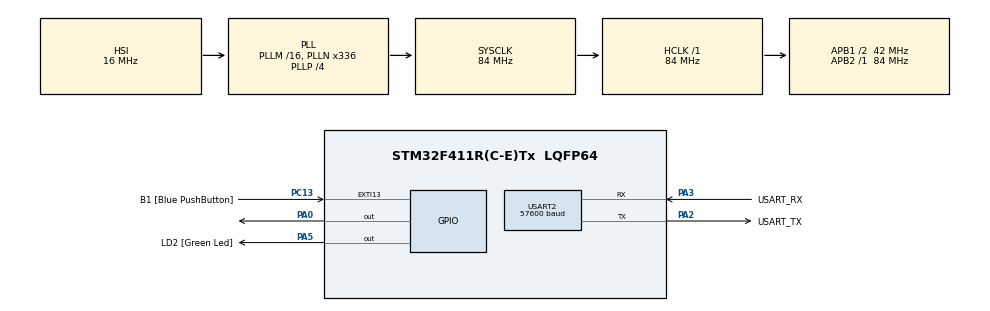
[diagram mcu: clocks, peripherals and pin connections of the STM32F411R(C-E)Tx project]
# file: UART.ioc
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Dma.Request0=USART2_RX
Dma.Request1=USART2_TX
Dma.USART2_RX.0.Direction=DMA_PERIPH_TO_MEMORY
Dma.USART2_RX.0.FIFOMode=DMA_FIFOMODE_DISABLE
Dma.USART2_RX.0.Instance=DMA1_Stream5
Dma.USART2_RX.0.MemDataAlignment=DMA_MDATAALIGN_BYTE
Dma.USART2_RX.0.MemInc=DMA_MINC_ENABLE
Dma.USART2_RX.0.Mode=DMA_CIRCULAR
Dma.USART2_RX.0.PeriphDataAlignment=DMA_PDATAALIGN_BYTE
Dma.USART2_RX.0.PeriphInc=DMA_PINC_DISABLE
Dma.USART2_RX.0.Priority=DMA_PRIORITY_LOW
Dma.USART2_TX.1.Direction=DMA_MEMORY_TO_PERIPH
Dma.USART2_TX.1.FIFOMode=DMA_FIFOMODE_DISABLE
Dma.USART2_TX.1.Instance=DMA1_Stream6
Dma.USART2_TX.1.MemDataAlignment=DMA_MDATAALIGN_BYTE
Dma.USART2_TX.1.MemInc=DMA_MINC_ENABLE
Dma.USART2_TX.1.Mode=DMA_NORMAL
Dma.USART2_TX.1.PeriphDataAlignment=DMA_PDATAALIGN_BYTE
Dma.USART2_TX.1.PeriphInc=DMA_PINC_DISABLE
Dma.USART2_TX.1.Priority=DMA_PRIORITY_LOW
Mcu.Family=STM32F4
Mcu.Name=STM32F411R(C-E)Tx
Mcu.Package=LQFP64
NVIC.DMA1_Stream5_IRQn=true\:0\:0\:false\:false\:true\:false\:true\:true
NVIC.DMA1_Stream6_IRQn=true\:0\:0\:false\:false\:true\:false\:true\:true
NVIC.EXTI15_10_IRQn=true\:0\:0\:false\:false\:true\:true\:true\:true
NVIC.PriorityGroup=NVIC_PRIORITYGROUP_0
NVIC.USART2_IRQn=true\:0\:0\:false\:false\:true\:true\:true\:true
PA0-WKUP.Signal=GPIO_Output
PA13.GPIO_Label=TMS
PA13.Mode=Serial_Wire
PA13.Signal=SYS_JTMS-SWDIO
PA14.GPIO_Label=TCK
PA14.Mode=Serial_Wire
PA14.Signal=SYS_JTCK-SWCLK
PA2.GPIO_Label=USART_TX
PA2.Mode=Asynchronous
PA2.Signal=USART2_TX
PA3.GPIO_Label=USART_RX
PA3.Mode=Asynchronous
PA3.Signal=USART2_RX
PA5.GPIO_Label=LD2 [Green Led]
PA5.Signal=GPIO_Output
PB3.GPIO_Label=SWO
PB3.Signal=SYS_JTDO-SWO
PC13-ANTI_TAMP.GPIO_Label=B1 [Blue PushButton]
PC13-ANTI_TAMP.GPIO_ModeDefaultEXTI=GPIO_MODE_IT_RISING_FALLING
PC13-ANTI_TAMP.Signal=GPXTI13
PC14-OSC32_IN.Mode=LSE-External-Oscillator
PC14-OSC32_IN.Signal=RCC_OSC32_IN
PC15-OSC32_OUT.Mode=LSE-External-Oscillator
PC15-OSC32_OUT.Signal=RCC_OSC32_OUT
PH0\ -\ OSC_IN.Mode=HSE-External-Clock-Source
PH0\ -\ OSC_IN.Signal=RCC_OSC_IN
PH1\ -\ OSC_OUT.Mode=HSE-External-Clock-Source
PH1\ -\ OSC_OUT.Signal=RCC_OSC_OUT
ProjectManager.HeapSize=0x200
ProjectManager.StackSize=0x400
ProjectManager.TargetToolchain=STM32CubeIDE
RCC.48MHZClocksFreq_Value=84000000
RCC.AHBFreq_Value=84000000
RCC.APB1CLKDivider=RCC_HCLK_DIV2
RCC.APB1Freq_Value=42000000
RCC.APB1TimFreq_Value=84000000
RCC.APB2Freq_Value=84000000
RCC.APB2TimFreq_Value=84000000
RCC.CortexFreq_Value=84000000
RCC.FLatency-AdvancedSettings=FLASH_LATENCY_2
RCC.HCLKFreq_Value=84000000
RCC.HSE_VALUE=8000000
RCC.HSI_VALUE=16000000
RCC.PLLN=336
RCC.PLLP=RCC_PLLP_DIV4
RCC.SYSCLKFreq_VALUE=84000000
RCC.SYSCLKSource=RCC_SYSCLKSOURCE_PLLCLK
RCC.VCOOutputFreq_Value=336000000
USART2.BaudRate=57600
USART2.VirtualMode=VM_ASYNC
board=NUCLEO-F411RE

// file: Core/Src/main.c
/* USER CODE BEGIN Header */
/**
  ******************************************************************************
  * @file           : main.c
  * @brief          : Main program body
  ******************************************************************************
  * @attention
  *
  * Copyright (c) 2023 STMicroelectronics.
  * All rights reserved.
  *
  * This software is licensed under terms that can be found in the LICENSE file
  * in the root directory of this software component.
  * If no LICENSE file comes with this software, it is provided AS-IS.
  *
  ******************************************************************************
  */
/* USER CODE END Header */
#include "main.h"

/* USER CODE BEGIN Includes */
#include "stdio.h"
/* USER CODE END Includes */

UART_HandleTypeDef huart2;
DMA_HandleTypeDef hdma_usart2_rx;
DMA_HandleTypeDef hdma_usart2_tx;

/* USER CODE BEGIN PV */
uint8_t RxBuffer[20];
uint8_t TxBuffer[40];
uint8_t Text[400];
uint8_t flag = 1;
uint8_t state = 0;
uint8_t timestep = 1;
uint8_t LED_on = 1;
uint8_t press = 0;
/* USER CODE END PV */

void SystemClock_Config(void);
static void MX_GPIO_Init(void);
static void MX_DMA_Init(void);
static void MX_USART2_UART_Init(void);
/* USER CODE BEGIN PFP */
void UARTPollingMethod();
void DummyTask();
void UARTInterruptConfig();
void UARTDMAConfig();
/* USER CODE END PFP */

int main(void)
{

  /* MCU Configuration--------------------------------------------------------*/

  /* Reset of all peripherals, Initializes the Flash interface and the Systick. */
  HAL_Init();

  /* Configure the system clock */
  SystemClock_Config();

  /* Initialize all configured peripherals */
  MX_GPIO_Init();
  MX_DMA_Init();
  MX_USART2_UART_Init();
  /* USER CODE BEGIN 2 */

		//uint8_t text[] = "HELLO FIBO";
		//HAL_UART_Transmit(&huart2, text, 11, 10);
  UARTInterruptConfig();

//  UARTDMAConfig();
//  sprintf((char*)UI,"Welcome to Control Menu\r\n");
//  sprintf((char*)Menu,"Please Select Menu \r\n 1.LED Control \r\n 2.Button Status \r\n");
//  sprintf((char*)LED,"-->LED Control \r\n a : Speed Up + 1 Hz \r\n s : Speed Down -1 Hz \r\n d : On/off \r\n x : back");
//

  /* USER CODE END 2 */

  /* Infinite loop */
  while (1)
  {

    /* USER CODE BEGIN 3 */
	  //Polling
	  //UARTPollingMethod();
	  static uint32_t timestamp = 0;
	  if(HAL_GetTick() > timestamp && LED_on == 1){
		  HAL_GPIO_TogglePin(GPIOA, GPIO_PIN_5);
		  timestamp = HAL_GetTick()+ 500.0/timestep; // 500 milisec = 1 Hz
	  }
	  else if(LED_on == 0){
		  HAL_GPIO_WritePin(GPIOA, GPIO_PIN_5, 0);
	  }
	  switch(state)
	  {
	  case 0: // Menu
		  sprintf((char*)Text,"%s\r\n\n========== Welcome to Main Menu ==========\r\n\n"
				  "**Please Select Menu**\r\n\n"
				  " Press 0 for LED Control \r\n\n"
				  " Press 1 for Button Status \r\n\n"
				  "==========================================\r\n\n"
				  " Enter Your in Input : ",RxBuffer);
		  HAL_UART_Transmit_IT(&huart2, Text, strlen((char*)Text));
		  state = 1;
		  flag = 1;
		  break;
	  case 1: //Menu Select
		  if(RxBuffer[0] == '0'){
			  sprintf((char*)Text,"%s\r\n========LED Control========\r\n"
				  " a : Speed Up + 1 Hz (Current Hz is %d)\r\n"
				  " s : Speed Down -1 Hz \r\n"
				  " d : On/off \r\n x : back LED Status is %d (Note : 1 is OFF 0 is ON)\r\n"
				  "==========================================\r\n\n"
				  "Enter Your in Input : ",RxBuffer,timestep,LED_on);
			  HAL_UART_Transmit_IT(&huart2,Text , strlen((char*)Text));
			  flag = 1;
		  	  state = 2;
		  }
		  else if(RxBuffer[0] == '1')
			  {
				sprintf((char*)Text,"%s\r\n"
				  "========Button Status========\r\n\n"
				  " Press the Button to Show Status\r\n\n"
				  " x : back \r\n\n"
				  "==========================================\r\n\n"
				  "Enter Your in Input : ",RxBuffer);
			  HAL_UART_Transmit_IT(&huart2,Text , strlen((char*)Text));
			  flag = 1;
			  state = 3;
		  }
		  else{
			  if(flag == 0){
			  sprintf((char*)Text,"%s\r\n========LED Control========\r\n"
					  "**%s is not in choice please try again**\r\n\n"
					  "**Please Select Menu**\r\n\n"
					  " Press 0 for LED Control \r\n\n"
					  " Press 1 for Button Status \r\n\n"
					  "==========================================\r\n\n"
					  " Enter Your in Input : ",RxBuffer,RxBuffer);
			  HAL_UART_Transmit_IT(&huart2, Text, strlen((char*)Text));
			  flag = 1;
			  }
		  }
		  break;
	  case 2: //LED Control
		  if(flag == 0){
		  if(RxBuffer[0] == 'a'){
			  sprintf((char*)Text,"%s\r\n========LED Control========\r\n"
  					  " a : Speed Up + 1 Hz (Current Hz is %d)\r\n"
  					  " s : Speed Down -1 Hz \r\n"
  					  " d : On/off \r\n x : back LED Status is %d (Note : 1 is OFF 0 is ON)\r\n"
  					  "==========================================\r\n\n"
  					  "Enter Your in Input : ",RxBuffer,timestep,LED_on);
			  HAL_UART_Transmit_IT(&huart2,Text , strlen((char*)Text));
			  if(timestep < 254)timestep = timestep + 1;
			  flag = 1;
		  }
		  else if(RxBuffer[0] == 's'){
			  sprintf((char*)Text,"%s\r\n========LED Control========\r\n"
					  " a : Speed Up + 1 Hz (Current Hz is %d)\r\n"
					  " s : Speed Down -1 Hz \r\n"
					  " d : On/off \r\n x : back LED Status is %d (Note : 1 is OFF 0 is ON)\r\n"
					  "==========================================\r\n\n"
					  "Enter Your in Input : ",RxBuffer,timestep,LED_on);
			  HAL_UART_Transmit_IT(&huart2,Text , strlen((char*)Text));
			  if(timestep > 1)timestep = timestep - 1;
			  flag = 1;
		  }
		  else if(RxBuffer[0] == 'd'){
			  if(LED_on == 0){
				  LED_on = 1;
				  sprintf((char*)Text,"%s\r\n========LED Control========\r\n"
					  " a : Speed Up + 1 Hz (Current Hz is %d)\r\n"
					  " s : Speed Down -1 Hz \r\n"
					  " d : On/off \r\n x : back LED Status is %d (Note : 1 is OFF 0 is ON)\r\n"
					  "==========================================\r\n\n"
					  "Enter Your in Input : ",RxBuffer,timestep,LED_on);
				  flag = 1;
			  }
			  else if(LED_on == 1){
				  LED_on = 0;
				  sprintf((char*)Text,"%s\r\n========LED Control========\r\n"
					  " a : Speed Up + 1 Hz (Current Hz is %d)\r\n"
					  " s : Speed Down -1 Hz \r\n"
					  " d : On/off \r\n x : back LED Status is %d (Note : 1 is OFF 0 is ON)\r\n"
					  "==========================================\r\n\n"
					  "Enter Your in Input : ",RxBuffer,timestep,LED_on);
			  }
			  HAL_UART_Transmit_IT(&huart2,Text , strlen((char*)Text));
			  flag = 1;
		  }
		  else if(RxBuffer[0] == 'x'){
			  state = 0;
			  flag = 1;
		  }
		  else{
			  sprintf((char*)Text,"%s\r\n========LED Control========\r\n"
			  "**%s is not in choice please try again**\r\n"
			  " a : Speed Up + 1 Hz (Current Hz is %d)\r\n"
			  " s : Speed Down -1 Hz \r\n"
			  " d : On/off \r\n x : back LED Status is %d (Note : 1 is OFF 0 is ON)\r\n"
			  "==========================================\r\n\n"
			  "Enter Your in Input : ",RxBuffer,RxBuffer,timestep,LED_on);
			  HAL_UART_Transmit_IT(&huart2,Text , strlen((char*)Text));
			  flag = 1;
		  }
		  }
		  break;
	  case 3: //Button menu
		  if(flag == 0){
		  if(RxBuffer[0] == 'x'){
			  	state = 0;
			  	press = 0;
		  		flag = 1;
		  }
		  else{
				sprintf((char*)Text,"%s\r\n"
				  "========Button Status========\r\n\n"
				  "**%s is not in choice please try again**\r\n"
				  " Press the Button to Show Status\r\n"
				  " x : back \r\n"
				  "==========================================\r\n\n"
				  "Enter Your in Input : ",RxBuffer,RxBuffer);
				HAL_UART_Transmit_IT(&huart2,Text , strlen((char*)Text));
			  flag = 1;
		  }
		  }
		  break;
	  }
  }
  /* USER CODE END 3 */
}

void SystemClock_Config(void)
{
  RCC_OscInitTypeDef RCC_OscInitStruct = {0};
  RCC_ClkInitTypeDef RCC_ClkInitStruct = {0};

  /** Configure the main internal regulator output voltage
  */
  __HAL_RCC_PWR_CLK_ENABLE();
  __HAL_PWR_VOLTAGESCALING_CONFIG(PWR_REGULATOR_VOLTAGE_SCALE1);

  /** Initializes the RCC Oscillators according to the specified parameters
  * in the RCC_OscInitTypeDef structure.
  */
  RCC_OscInitStruct.OscillatorType = RCC_OSCILLATORTYPE_HSI;
  RCC_OscInitStruct.HSIState = RCC_HSI_ON;
  RCC_OscInitStruct.HSICalibrationValue = RCC_HSICALIBRATION_DEFAULT;
  RCC_OscInitStruct.PLL.PLLState = RCC_PLL_ON;
  RCC_OscInitStruct.PLL.PLLSource = RCC_PLLSOURCE_HSI;
  RCC_OscInitStruct.PLL.PLLM = 16;
  RCC_OscInitStruct.PLL.PLLN = 336;
  RCC_OscInitStruct.PLL.PLLP = RCC_PLLP_DIV4;
  RCC_OscInitStruct.PLL.PLLQ = 4;
  if (HAL_RCC_OscConfig(&RCC_OscInitStruct) != HAL_OK)
  {
    Error_Handler();
  }

  /** Initializes the CPU, AHB and APB buses clocks
  */
  RCC_ClkInitStruct.ClockType = RCC_CLOCKTYPE_HCLK|RCC_CLOCKTYPE_SYSCLK
                              |RCC_CLOCKTYPE_PCLK1|RCC_CLOCKTYPE_PCLK2;
  RCC_ClkInitStruct.SYSCLKSource = RCC_SYSCLKSOURCE_PLLCLK;
  RCC_ClkInitStruct.AHBCLKDivider = RCC_SYSCLK_DIV1;
  RCC_ClkInitStruct.APB1CLKDivider = RCC_HCLK_DIV2;
  RCC_ClkInitStruct.APB2CLKDivider = RCC_HCLK_DIV1;

  if (HAL_RCC_ClockConfig(&RCC_ClkInitStruct, FLASH_LATENCY_2) != HAL_OK)
  {
    Error_Handler();
  }
}

static void MX_USART2_UART_Init(void)
{

  huart2.Instance = USART2;
  huart2.Init.BaudRate = 57600;
  huart2.Init.WordLength = UART_WORDLENGTH_8B;
  huart2.Init.StopBits = UART_STOPBITS_1;
  huart2.Init.Parity = UART_PARITY_NONE;
  huart2.Init.Mode = UART_MODE_TX_RX;
  huart2.Init.HwFlowCtl = UART_HWCONTROL_NONE;
  huart2.Init.OverSampling = UART_OVERSAMPLING_16;
  if (HAL_UART_Init(&huart2) != HAL_OK)
  {
    Error_Handler();
  }

}

static void MX_DMA_Init(void)
{

  /* DMA controller clock enable */
  __HAL_RCC_DMA1_CLK_ENABLE();

  /* DMA interrupt init */
  /* DMA1_Stream5_IRQn interrupt configuration */
  HAL_NVIC_SetPriority(DMA1_Stream5_IRQn, 0, 0);
  HAL_NVIC_EnableIRQ(DMA1_Stream5_IRQn);
  /* DMA1_Stream6_IRQn interrupt configuration */
  HAL_NVIC_SetPriority(DMA1_Stream6_IRQn, 0, 0);
  HAL_NVIC_EnableIRQ(DMA1_Stream6_IRQn);

}

static void MX_GPIO_Init(void)
{
  GPIO_InitTypeDef GPIO_InitStruct = {0};

  /* GPIO Ports Clock Enable */
  __HAL_RCC_GPIOC_CLK_ENABLE();
  __HAL_RCC_GPIOH_CLK_ENABLE();
  __HAL_RCC_GPIOA_CLK_ENABLE();
  __HAL_RCC_GPIOB_CLK_ENABLE();

  /*Configure GPIO pin Output Level */
  HAL_GPIO_WritePin(GPIOA, GPIO_PIN_0|LD2_Pin, GPIO_PIN_RESET);

  /*Configure GPIO pin : B1_Pin */
  GPIO_InitStruct.Pin = B1_Pin;
  GPIO_InitStruct.Mode = GPIO_MODE_IT_RISING_FALLING;
  GPIO_InitStruct.Pull = GPIO_NOPULL;
  HAL_GPIO_Init(B1_GPIO_Port, &GPIO_InitStruct);

  /*Configure GPIO pins : PA0 LD2_Pin */
  GPIO_InitStruct.Pin = GPIO_PIN_0|LD2_Pin;
  GPIO_InitStruct.Mode = GPIO_MODE_OUTPUT_PP;
  GPIO_InitStruct.Pull = GPIO_NOPULL;
  GPIO_InitStruct.Speed = GPIO_SPEED_FREQ_LOW;
  HAL_GPIO_Init(GPIOA, &GPIO_InitStruct);

  /* EXTI interrupt init*/
  HAL_NVIC_SetPriority(EXTI15_10_IRQn, 0, 0);
  HAL_NVIC_EnableIRQ(EXTI15_10_IRQn);

}

/* USER CODE BEGIN 4 */
void HAL_GPIO_EXTI_Callback(uint16_t GPIO_Pin)
{
	if(GPIO_Pin == GPIO_PIN_13){
		if(state == 3)press += 1;
		if(state == 3 && press == 1){
			sprintf((char*)Text,"Button\r\n\n"
			  "========Button Status========\r\n\n"
			  " Press the Button to Show Status (Button Press)\r\n\n"
			  " x : back \r\n\n"
			  "==========================================\r\n\n"
			  "Enter Your in Input : ");
			HAL_UART_Transmit_IT(&huart2,Text , strlen((char*)Text));
		}
		else if(state == 3 && press == 2){
			sprintf((char*)Text,"Button\r\n\n"
			  "========Button Status========\r\n\n"
			  " Press the Button to Show Status (Button UnPress)\r\n\n"
			  " x : back \r\n\n"
			  "==========================================\r\n\n"
			  "Enter Your in Input : ");
			HAL_UART_Transmit_IT(&huart2,Text , strlen((char*)Text));
			press = 0;

		}
	}
}
//void UARTPollingMethod(){
//	//read UART 10 char with in 10s (= 10000 milisec)
//	HAL_StatusTypeDef HAL_status = HAL_UART_Receive(&huart2, RxBuffer, 10, 10000);
//	// if complete read 10 char
//	if(HAL_status == HAL_OK){
//		//set \0 at the end of string
//		RxBuffer[10] = '\0';
//
//		sprintf((char*)TxBuffer,"Recevied : %s\r\n",RxBuffer);
//		HAL_UART_Transmit(&huart2, TxBuffer, strlen((char*)TxBuffer), 10);
//	}
//	else if(HAL_status = HAL_TIMEOUT){
//		//set \0 at the end of last string
//		uint32_t lastCharPos = huart2.RxXferSize - huart2.RxXferCount;
//		RxBuffer[lastCharPos] = '\0';
//
//		sprintf((char*)TxBuffer,"Recevied Timeout : %s\r\n",RxBuffer);
//		HAL_UART_Transmit(&huart2, TxBuffer, strlen((char*)TxBuffer), 10);
//	}
//}
//void DummyTask(){
//	static uint32_t timestamp = 0;
//	if(HAL_GetTick()>=timestamp)
//	{
//		timestamp = HAL_GetTick() + 100;
//		HAL_GPIO_TogglePin(LD2_GPIO_Port, LD2_Pin);
//	}
//}
void UARTInterruptConfig(){
	//start UART in interrupt Mode
	HAL_UART_Receive_IT(&huart2, RxBuffer, 1);
}
void HAL_UART_RxCpltCallback(UART_HandleTypeDef *huart){
	if(huart == &huart2){
		// start new cycle receive interrupt HAL_UART_Receive_IT or HAL_UART_Receive_DMA
		flag = 0;
		HAL_UART_Receive_IT(&huart2, RxBuffer, 1);
	}
}
//void UARTDMAConfig(){
//		// start UART DMA
//		HAL_UART_Receive_DMA(&huart2, RxBuffer, 1);
//	}
/* USER CODE END 4 */

void Error_Handler(void)
{
  __disable_irq();
  while (1)
  {
  }
}
